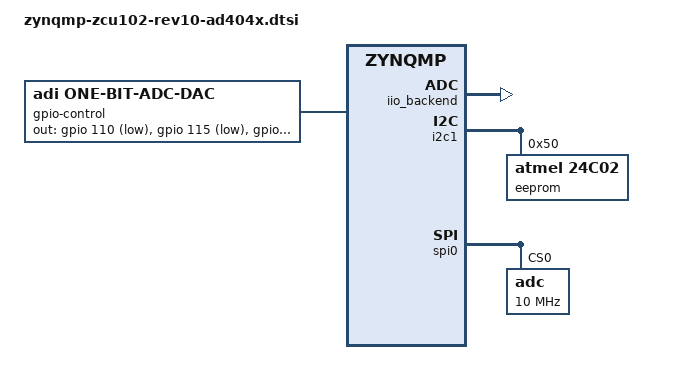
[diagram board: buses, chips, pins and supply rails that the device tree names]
// SPDX-License-Identifier: GPL-2.0
/*
 * Analog Devices AD4040/AD4044/AD4046/AD4048 on ZCU102
 *
 * Common part. The including file sets the compatible of the adc node.
 *
 * Copyright (C) 2026 Analog Devices Inc.
 */

#include "zynqmp-zcu102-rev1.0.dts"
#include <dt-bindings/interrupt-controller/irq.h>

&i2c1 {
	i2c-mux@75 {
		i2c@0 { /* HPC0 */
			#address-cells = <1>;
			#size-cells = <0>;
			reg = <0>;
			/* HPC0_IIC */
			eeprom@50 {
				compatible = "atmel,24c02";
				reg = <0x50>;
			};
		};
	};
};

/ {
	adf4350_clkin: clock-adf4350-clkin {
		compatible = "fixed-clock";
		#clock-cells = <0>;
		clock-frequency = <25000000>;
	};

	fpga_axi: fpga-axi@0 {
		interrupt-parent = <&gic>;
		compatible = "simple-bus";
		#address-cells = <0x1>;
		#size-cells = <0x1>;
		ranges = <0 0 0 0xffffffff>;

		rx_dma: dma-controller@84a30000 {
			compatible = "adi,axi-dmac-1.00.a";
			reg = <0x84a30000 0x10000>;
			#dma-cells = <1>;
			interrupts = <0 109 IRQ_TYPE_LEVEL_HIGH>;
			clocks = <&zynqmp_clk 73>;

			adi,channels {
				#size-cells = <0>;
				#address-cells = <1>;

				dma-channel@0 {
					reg = <0>;
					adi,source-bus-width = <256>;
					adi,source-bus-type = <2>;
					adi,destination-bus-width = <128>;
					adi,destination-bus-type = <0>;
				};
			};
		};

		iio_backend: axi-adc@84a00000 {
			compatible = "adi,axi-ad404x";
			reg = <0x84a00000 0x10000>;
			dmas = <&rx_dma 0>;
			dma-names = "rx";
			clocks = <&zynqmp_clk 71>;
			#io-backend-cells = <0>;
		};
	};

	gpio-control {
		compatible = "adi,one-bit-adc-dac";
		#address-cells = <1>;
		#size-cells = <0>;
		out-gpios = <&gpio 110 1>, <&gpio 115 1>, <&gpio 111 1>,
			    <&gpio 112 1>, <&gpio 113 1>, <&gpio 114 1>;

		channel@0 {
			reg = <0>;
			label = "fmc0_reset_n";
		};

		channel@1 {
			reg = <1>;
			label = "clk_srcs_sel";
		};

		channel@2 {
			reg = <2>;
			label = "adc_gpio0";
		};

		channel@3 {
			reg = <3>;
			label = "adc_gpio1";
		};

		channel@4 {
			reg = <4>;
			label = "adc_gpio2";
		};

		channel@5 {
			reg = <5>;
			label = "adc_gpio3";
		};
	};
};

&spi0 {
	status = "okay";

	adc: adc@0 {
		reg = <0>;
		spi-max-frequency = <10000000>;
		clocks = <&adf4350_clkin>;
		clock-names = "cnv";
		io-backends = <&iio_backend>;
		adi,num-lanes = <1>;
	};
};
